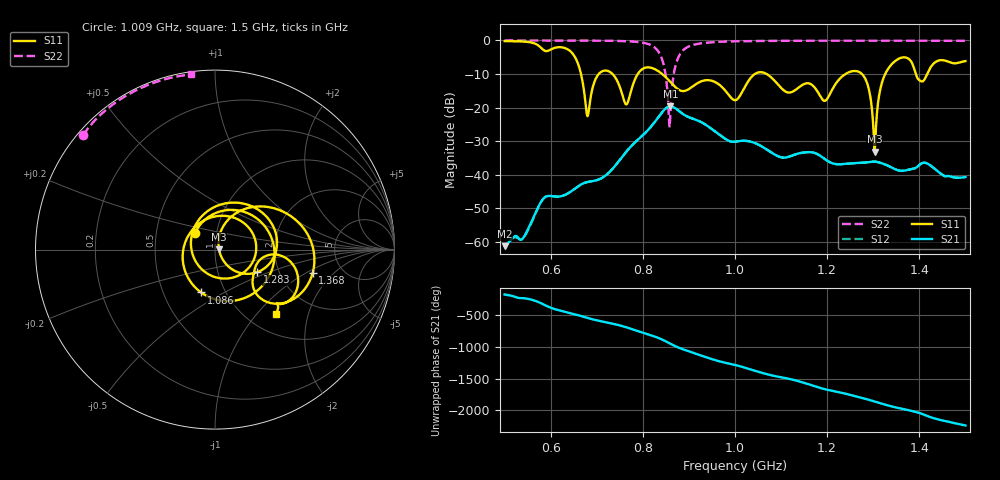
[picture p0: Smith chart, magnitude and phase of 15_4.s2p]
! TOUCHSTONE file generated by CST MICROWAVE STUDIO
! Date and time: Sat Nov 14 20:00:13 2020
! Project name: Scenario_1_Planar_Body_Tissue_Out_of_Line.cst
! Parameters = {dy1=103.8; L_HA=400; Ltissue=700; MT=2.54; Rad_Dielectric=30; Rad_Lower=7.3; Rad_Upper=30; Wtissue=700; a_HA=580; a_WG=246; b_HA=500; b_WG=121; c_HA=0; c_WG=187; d_feed=85; dx1=693; h_feed=15; h_lower=18; h_upper=40; hfat=3; hgap=25; hmuscle=50; hskin=1.5}
! Header version: 2018
! Port assignment regex: !\s*Touchstone port\s*([0-9]+)\s*=\s*(CST MWS port|CST DS port)\s*([0-9]+|Zmin|Zmax)\s*\(\"(.*)\"\)(\s*mode\s*([0-9]+))?.*
! Touchstone port assignment:
! Touchstone port 1 = CST MWS port 1 ("")
! Touchstone port 2 = CST MWS port 2 ("")
# GHz S DB R 50
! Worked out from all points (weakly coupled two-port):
!   1003 points, 500 MHz to 1.5 GHz, reference 50 ohm
!   highest |S21| = -19.65 dB at 860 MHz (marker M1); lowest = -61.3 dB at 500 MHz (marker M2)
!   lowest |S11| = -33.1 dB at 1.303 GHz (marker M3), VSWR 1.05, Z = 52.2 + j0.275 ohm
!   |S11| at or under -10 dB: 734.2 MHz to 789 MHz (54.81 MHz wide, 7.2 % of centre); 841.9 MHz to 1.043 GHz (201.1 MHz wide, 21.3 % of centre); 1.069 GHz to 1.24 GHz (171.2 MHz wide, 14.8 % of centre) (the widest 3 of 6)
!   |S22| runs from -25.9 to 0.0 dB; largest |S21 - S12| = 6.6e-05
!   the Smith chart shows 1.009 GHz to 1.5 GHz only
!   S11 on the Smith chart (normalised r, x): 1.009 GHz: 0.79, +0.14; 1.086 GHz: 0.77, -0.39; 1.283 GHz: 1.55, -0.42; 1.368 GHz: 3.05, -1.16; 1.5 GHz: 1.35, -1.27
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0.5  -0.20 -121.6  -61.27 -173.2  -61.27 -173.2  -0.01 151.1
0.622  -2.03 173.0  -46.41 -69.3  -46.41 -69.3  -0.02 142.4
0.667  -10.75 100.8  -42.81 -155.2  -42.81 -155.2  -0.04 138.4
0.68  -22.59 146.1  -42.16 176.8  -42.16 176.8  -0.05 137.1
0.709  -9.40 162.3  -41.12 126.5  -41.12 126.5  -0.08 133.8
0.764  -19.05 -28.0  -33.15 30.4  -33.15 30.4  -0.23 124.6
0.798  -8.62 162.7  -28.48 -49.2  -28.48 -49.2  -0.63 113.6
0.834  -9.19 60.7  -22.78 -138.2  -22.78 -138.2  -3.37 83.8
0.86  -12.37 -19.0  -19.65 130.4  -19.65 130.4  -20.92 -106.9
0.888  -15.08 -127.4  -21.99 41.1  -21.99 41.1  -2.85 178.3
0.952  -12.11 4.9  -26.64 -116.5  -26.64 -116.5  -0.53 148.4
1  -17.79 -172.8  -30.15 156.7  -30.15 156.7  -0.26 140.2
1.009  -16.84 141.2  -29.95 139.8  -29.95 139.8  -0.24 139.0
1.05  -9.55 -4.4  -30.97 49.9  -30.97 49.9  -0.17 134.4
1.086  -12.01 -108.1  -33.98 -18.2  -33.98 -18.2  -0.13 130.9
1.167  -13.23 -22.8  -33.33 -164.7  -33.33 -164.7  -0.09 124.2
1.231  -10.92 67.1  -36.85 77.7  -36.86 77.7  -0.09 119.3
1.283  -11.48 -28.2  -36.36 -18.0  -36.36 -18.0  -0.08 115.3
1.303  -33.11 6.8  -36.09 -60.1  -36.09 -60.1  -0.08 113.8
1.334  -8.10 36.4  -37.43 -126.5  -37.43 -126.5  -0.09 111.5
1.368  -5.04 -13.5  -38.76 177.6  -38.76 177.6  -0.09 108.9
1.5  -6.16 -46.4  -40.66 -77.8  -40.66 -77.8  -0.13 97.9
